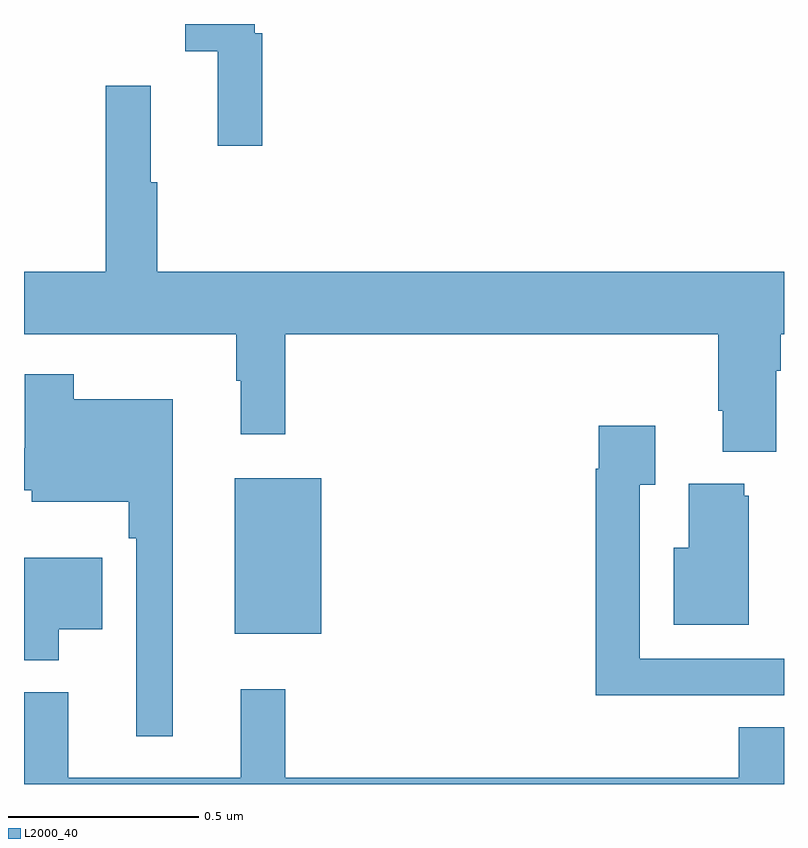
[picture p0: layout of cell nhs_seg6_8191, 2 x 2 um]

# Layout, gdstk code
import gdstk
lib = gdstk.Library(unit=1e-6, precision=1e-09)
def R(c, l, rs):  # rectangles x0, y0, x1, y1
    for r in rs: c.add(gdstk.rectangle(r[:2], r[2:], *l))
def P(c, l, *ps):  # polygons
    for p in ps: c.add(gdstk.Polygon(p, *l))
L2000_40 = (2000, 40)

nhs_seg6_8191 = lib.new_cell('nhs_seg6_8191')
R(nhs_seg6_8191, L2000_40, [(218.555,931.895,218.782,932.305)])
P(nhs_seg6_8191, L2000_40, [(218.627,933.476),(218.607,933.476),(218.607,933.5),(218.424,933.5),(218.424,933.428),(218.51,933.428),(218.51,933.18),(218.627,933.18)],
  [(218.351,933.084),(218.333,933.084),(218.333,933.337),(218.215,933.337),(218.215,932.848),(218,932.848),(218,932.684),(218.559,932.684),(218.559,932.561),(218.57,932.561),(218.57,932.421),(218.687,932.421),(218.687,932.684),(219.827,932.684),(219.827,932.482),(219.839,932.482),(219.839,932.375),(219.979,932.375),(219.979,932.588),(219.992,932.588),(219.992,932.684),(220,932.684),(220,932.848),(218.351,932.848)],
  [(218.392,932.512),(218.131,932.512),(218.131,932.578),(218.002,932.578),(218.002,932.383),(218,932.383),(218,932.273),(218.021,932.273),(218.021,932.243),(218.275,932.243),(218.275,932.147),(218.295,932.147),(218.295,931.626),(218.392,931.626)],
  [(219.797,931.734),(220,931.734),(220,931.83),(219.621,931.83),(219.621,932.287),(219.661,932.287),(219.661,932.443),(219.513,932.443),(219.513,932.33),(219.505,932.33),(219.505,931.733),(219.797,931.733)],
  [(219.907,932.259),(219.896,932.259),(219.896,932.29),(219.749,932.29),(219.749,932.122),(219.71,932.122),(219.71,931.919),(219.907,931.919)],
  [(218.092,931.907),(218.206,931.907),(218.206,932.095),(218,932.095),(218,931.826),(218.092,931.826)],
  [(220,931.649),(219.881,931.649),(219.881,931.516),(218.687,931.516),(218.687,931.75),(218.57,931.75),(218.57,931.516),(218.117,931.516),(218.117,931.741),(218,931.741),(218,931.5),(220,931.5)])

lib.write_gds('nhs_seg6_8191.gds')
